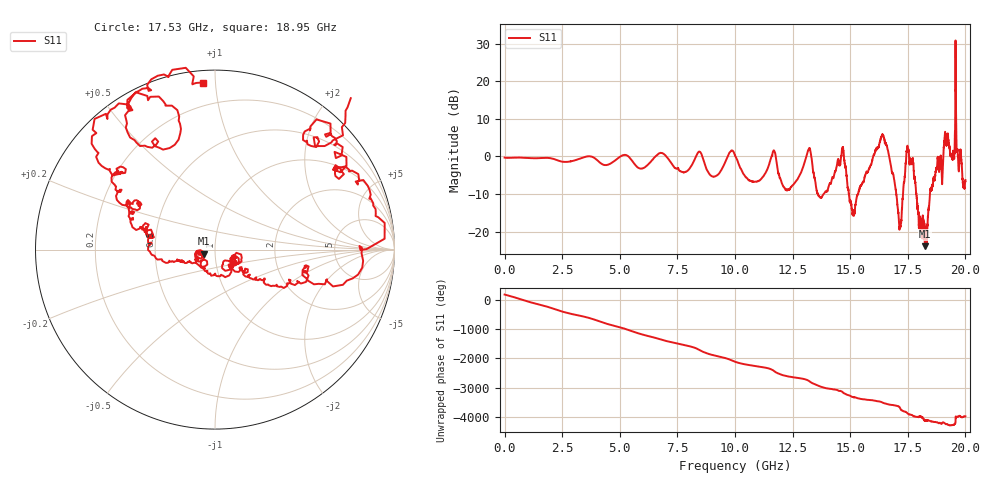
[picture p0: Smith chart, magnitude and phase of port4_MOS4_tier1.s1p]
! Created with skrf 1.8.0 (http://scikit-rf.org).
# GHz S RI R 50.0
!freq ReS11 ImS11
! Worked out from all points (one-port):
!   10001 points, 1 MHz to 20 GHz, reference 50 ohm
!   lowest |S11| = -23.9 dB at 18.26 GHz (marker M1), VSWR 1.14, Z = 44.3 - j1.97 ohm
!   |S11| at or under -10 dB: 14.94 GHz to 15.34 GHz (392.7 MHz wide, 2.59 % of centre); 17 GHz to 17.29 GHz (295.9 MHz wide, 1.73 % of centre); 17.87 GHz to 18.46 GHz (591.1 MHz wide, 3.25 % of centre) (the widest 3 of 5)
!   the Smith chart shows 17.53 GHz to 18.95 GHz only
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0.001  -0.9646 0.00504
0.7349633  0.9537 0.1493
1.578921  -0.9513 -0.0429
2.016899  0.092 0.9399
2.500875  0.6391 -0.5628
3.20284  -0.9111 -0.1242
4.030799  0.8771 0.1232
4.448778  -0.1553 -0.7557
5.00075  -0.7949 0.5829
5.502725  0.8684 0.246
6.39468  -0.8773 0.132
6.80466  0.1392 1.103
7.500625  0.4213 -0.5522
8.444578  -0.1045 1.156
8.942553  0.224 -0.5125
9.628519  -0.8672 0.2959
10.0005  0.7031 0.7552
12.50038  -0.2055 -0.3595
13.23234  -0.2171 1.253
15.00025  0.2118 -0.1461
16.40018  -0.1942 1.943
16.97815  0.3556 -0.0577
17.50013  0.3047 1.231
18.25609  -0.06 -0.0221
19.17204  0.2996 1.366
19.47003  0.7523 0.8014
19.67202  0.8563 -0.5519
20  0.4657 -0.1312
